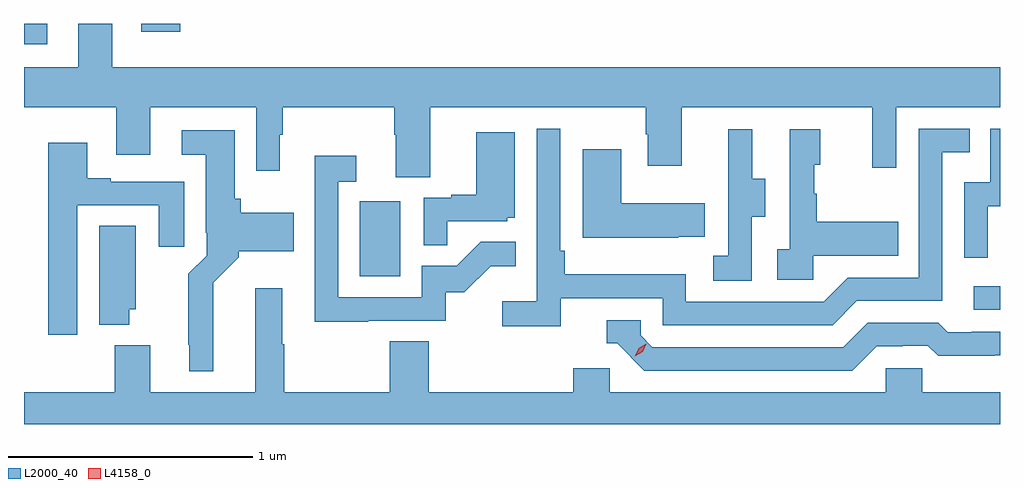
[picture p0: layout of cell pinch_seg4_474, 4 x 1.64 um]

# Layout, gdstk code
import gdstk
lib = gdstk.Library(unit=1e-6, precision=1e-09)
def R(c, l, rs):  # rectangles x0, y0, x1, y1
    for r in rs: c.add(gdstk.rectangle(r[:2], r[2:], *l))
def P(c, l, *ps):  # polygons
    for p in ps: c.add(gdstk.Polygon(p, *l))
L2000_40 = (2000, 40)
L4158_0 = (4158, 0)

pinch_seg4_474 = lib.new_cell('pinch_seg4_474')
R(pinch_seg4_474, L2000_40, [(904.653,749.37,904.761,749.466), (902.138,749.508,902.302,749.815), (900.761,750.458,900.856,750.543), (901.241,750.51,901.402,750.543)])
P(pinch_seg4_474, L2000_40, [(902.425,750.2),(903.31,750.2),(903.31,750.089),(903.317,750.089),(903.317,749.961),(903.457,749.961),(903.457,750.2),(904.238,750.2),(904.238,749.952),(904.335,749.952),(904.335,750.2),(904.761,750.2),(904.761,750.364),(901.123,750.364),(901.123,750.543),(900.983,750.543),(900.983,750.364),(900.761,750.364),(900.761,750.2),(901.139,750.2),(901.139,750.006),(901.279,750.006),(901.279,750.2),(901.713,750.2),(901.713,749.94),(901.81,749.94),(901.81,750.088),(901.822,750.088),(901.822,750.2),(902.278,750.2),(902.278,750.088),(902.285,750.088),(902.285,749.914),(902.425,749.914)],
  [(902.96,749.418),(903.378,749.418),(903.378,749.307),(904.075,749.307),(904.174,749.406),(904.524,749.406),(904.524,750.015),(904.637,750.015),(904.637,750.111),(904.428,750.111),(904.428,749.502),(904.137,749.502),(904.038,749.403),(903.474,749.403),(903.474,749.515),(902.978,749.515),(902.978,749.611),(902.958,749.611),(902.958,750.112),(902.862,750.112),(902.862,749.404),(902.721,749.404),(902.721,749.302),(902.96,749.302)],
  [(904.71,749.795),(904.761,749.795),(904.761,750.111),(904.722,750.111),(904.722,749.892),(904.614,749.892),(904.614,749.583),(904.71,749.583)],
  [(903.996,749.591),(904.343,749.591),(904.343,749.731),(904.009,749.731),(904.009,749.846),(903.999,749.846),(903.999,749.964),(904.024,749.964),(904.024,750.109),(903.9,750.109),(903.9,749.618),(903.849,749.618),(903.849,749.493),(903.996,749.493)],
  [(903.744,749.752),(903.799,749.752),(903.799,749.907),(903.745,749.907),(903.745,750.109),(903.647,750.109),(903.647,749.895),(903.648,749.895),(903.648,749.591),(903.585,749.591),(903.585,749.488),(903.744,749.488)],
  [(901.537,749.48),(901.642,749.586),(901.642,749.609),(901.867,749.609),(901.867,749.767),(901.65,749.767),(901.65,749.826),(901.624,749.826),(901.624,750.106),(901.407,750.106),(901.407,750.005),(901.505,750.005),(901.505,749.686),(901.509,749.686),(901.509,749.592),(901.435,749.518),(901.435,749.227),(901.439,749.227),(901.439,749.117),(901.537,749.117)],
  [(902.495,749.733),(902.742,749.733),(902.742,749.748),(902.773,749.748),(902.773,750.097),(902.615,750.097),(902.615,749.842),(902.511,749.842),(902.511,749.829),(902.4,749.829),(902.4,749.635),(902.495,749.635)],
  [(900.979,749.799),(901.313,749.799),(901.313,749.628),(901.417,749.628),(901.417,749.895),(901.117,749.895),(901.117,749.908),(901.021,749.908),(901.021,750.055),(900.86,750.055),(900.86,749.268),(900.979,749.268)],
  [(903.443,749.669),(903.551,749.669),(903.551,749.806),(903.208,749.806),(903.208,750.028),(903.05,750.028),(903.05,749.666),(903.443,749.666)],
  [(902.171,749.325),(902.49,749.325),(902.49,749.442),(902.566,749.442),(902.673,749.549),(902.777,749.549),(902.777,749.648),(902.633,749.648),(902.535,749.55),(902.391,749.55),(902.391,749.421),(902.049,749.421),(902.049,749.895),(902.122,749.895),(902.122,750.001),(901.953,750.001),(901.953,749.32),(902.171,749.32)],
  [(901.192,749.373),(901.219,749.373),(901.219,749.714),(901.07,749.714),(901.07,749.309),(901.192,749.309)],
  [(904.761,749.032),(904.443,749.032),(904.443,749.13),(904.293,749.13),(904.293,749.032),(903.162,749.032),(903.162,749.13),(903.011,749.13),(903.011,749.032),(902.42,749.032),(902.42,749.24),(902.26,749.24),(902.26,749.032),(901.827,749.032),(901.827,749.228),(901.819,749.228),(901.819,749.458),(901.709,749.458),(901.709,749.032),(901.279,749.032),(901.279,749.224),(901.132,749.224),(901.132,749.032),(900.761,749.032),(900.761,748.9),(904.761,748.9)],
  [(904.255,749.22),(904.362,749.22),(904.362,749.223),(904.465,749.223),(904.507,749.181),(904.74,749.181),(904.74,749.183),(904.761,749.183),(904.761,749.28),(904.645,749.28),(904.645,749.277),(904.546,749.277),(904.507,749.316),(904.218,749.316),(904.119,749.217),(903.336,749.217),(903.288,749.265),(903.288,749.328),(903.149,749.328),(903.149,749.232),(903.192,749.232),(903.303,749.121),(904.156,749.121)])
P(pinch_seg4_474, L4158_0, [(903.264,749.179),(903.264,749.18),(903.281,749.212),(903.312,749.231),(903.312,749.231),(903.312,749.23),(903.296,749.198),(903.265,749.179)])

lib.write_gds('pinch_seg4_474.gds')
